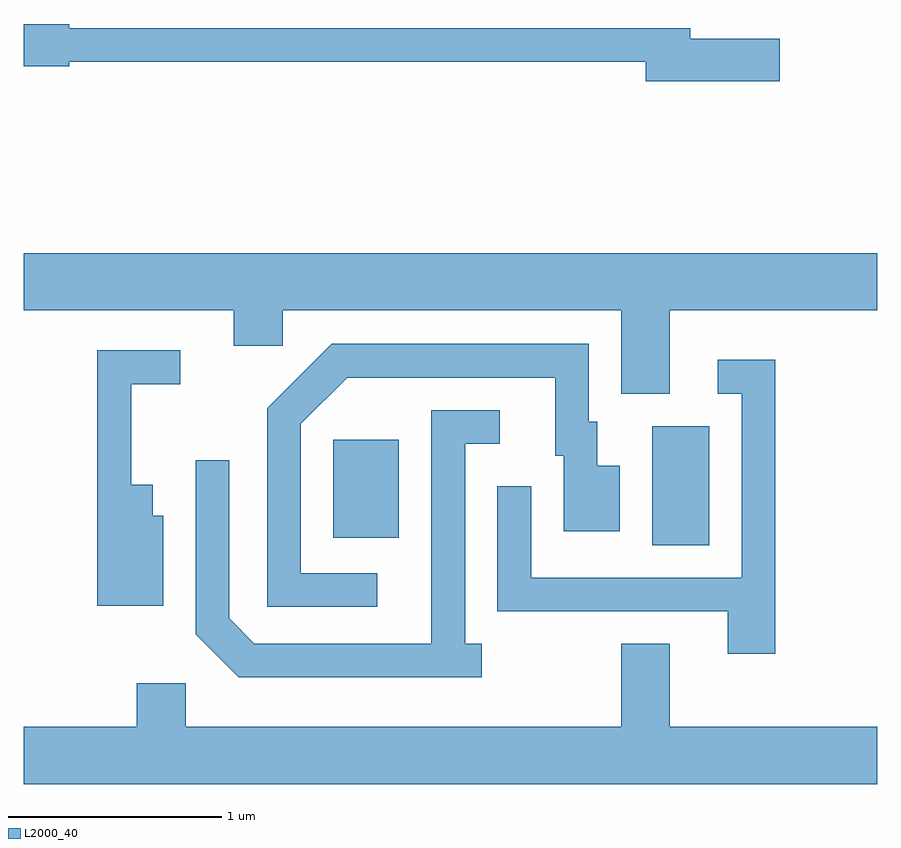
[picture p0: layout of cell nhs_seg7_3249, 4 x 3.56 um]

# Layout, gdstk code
import gdstk
lib = gdstk.Library(unit=1e-6, precision=1e-09)
def R(c, l, rs):  # rectangles x0, y0, x1, y1
    for r in rs: c.add(gdstk.rectangle(r[:2], r[2:], *l))
def P(c, l, *ps):  # polygons
    for p in ps: c.add(gdstk.Polygon(p, *l))
L2000_40 = (2000, 40)

nhs_seg7_3249 = lib.new_cell('nhs_seg7_3249')
R(nhs_seg7_3249, L2000_40, [(288.556,1675.476,288.824,1676.034), (287.061,1675.511,287.369,1675.969)])
P(nhs_seg7_3249, L2000_40, [(289.154,1677.849),(288.734,1677.849),(288.734,1677.899),(285.824,1677.899),(285.824,1677.919),(285.611,1677.919),(285.611,1677.721),(285.824,1677.721),(285.824,1677.741),(288.526,1677.741),(288.526,1677.651),(289.154,1677.651)],
  [(288.639,1676.576),(289.611,1676.576),(289.611,1676.844),(285.611,1676.844),(285.611,1676.576),(286.596,1676.576),(286.596,1676.411),(286.824,1676.411),(286.824,1676.576),(288.411,1676.576),(288.411,1676.186),(288.639,1676.186)],
  [(287.268,1675.344),(286.909,1675.344),(286.909,1676.044),(287.127,1676.261),(288.101,1676.261),(288.101,1675.896),(288.141,1675.896),(288.141,1675.541),(288.404,1675.541),(288.404,1675.849),(288.299,1675.849),(288.299,1676.054),(288.259,1676.054),(288.259,1676.419),(287.054,1676.419),(286.751,1676.117),(286.751,1675.186),(287.268,1675.186)],
  [(286.264,1675.614),(286.214,1675.614),(286.214,1675.759),(286.114,1675.759),(286.114,1676.231),(286.343,1676.231),(286.343,1676.389),(285.956,1676.389),(285.956,1675.191),(286.264,1675.191)],
  [(289.134,1676.344),(288.863,1676.344),(288.863,1676.186),(288.976,1676.186),(288.976,1675.324),(287.989,1675.324),(287.989,1675.753),(287.831,1675.753),(287.831,1675.166),(288.911,1675.166),(288.911,1674.966),(289.134,1674.966)],
  [(287.758,1675.014),(287.679,1675.014),(287.679,1675.951),(287.843,1675.951),(287.843,1676.109),(287.521,1676.109),(287.521,1675.014),(286.692,1675.014),(286.574,1675.132),(286.574,1675.873),(286.416,1675.873),(286.416,1675.059),(286.619,1674.856),(287.758,1674.856)],
  [(289.611,1674.624),(288.639,1674.624),(288.639,1675.014),(288.411,1675.014),(288.411,1674.624),(286.369,1674.624),(286.369,1674.829),(286.141,1674.829),(286.141,1674.624),(285.611,1674.624),(285.611,1674.356),(289.611,1674.356)])

lib.write_gds('nhs_seg7_3249.gds')
